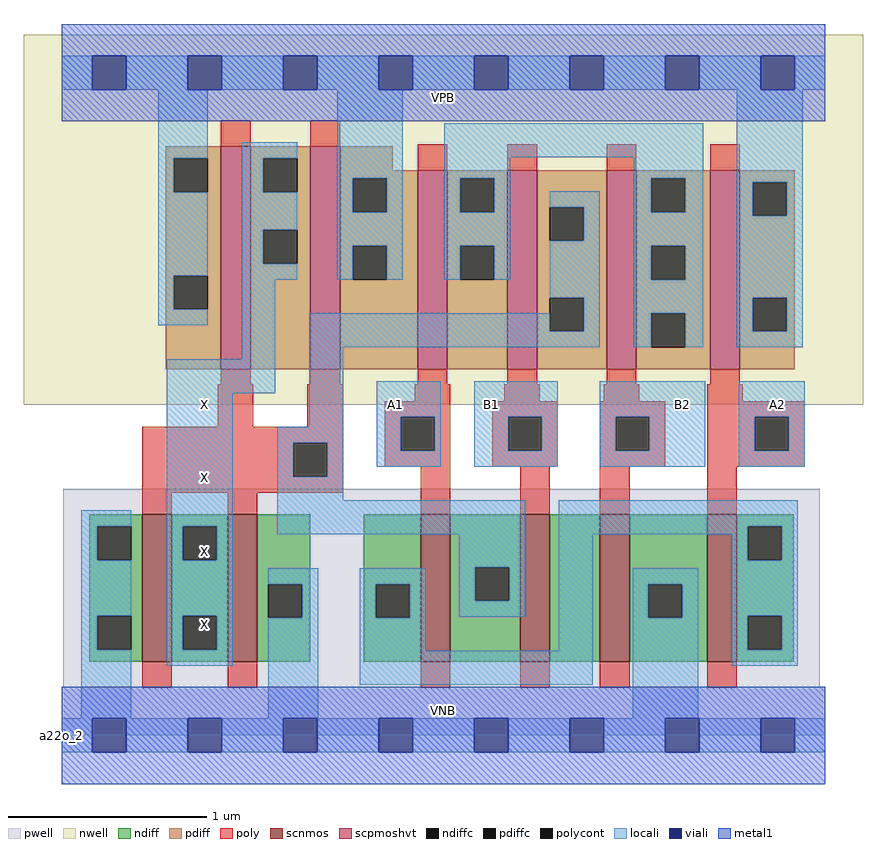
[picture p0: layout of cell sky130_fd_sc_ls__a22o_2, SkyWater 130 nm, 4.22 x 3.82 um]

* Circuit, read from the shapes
.subckt sky130_fd_sc_ls__a22o_2 A1 A2 B1 B2 VGND VNB VPB VPWR X
XM1 X n1 VGND VNB sky130_fd_pr__nfet_01v8 w=0.74 l=0.15 m=2
XM2 n1 A1 n2 VNB sky130_fd_pr__nfet_01v8 w=0.74 l=0.15
XM3 n3 B1 n1 VNB sky130_fd_pr__nfet_01v8 w=0.74 l=0.15
XM4 VGND B2 n3 VNB sky130_fd_pr__nfet_01v8 w=0.74 l=0.15
XM5 n2 A2 VGND VNB sky130_fd_pr__nfet_01v8 w=0.74 l=0.15
XM6 X n1 VPWR VPB sky130_fd_pr__pfet_01v8_hvt w=1.12 l=0.15 m=2
XM7 n4 A1 VPWR VPB sky130_fd_pr__pfet_01v8_hvt w=1 l=0.15
XM8 n1 B1 n4 VPB sky130_fd_pr__pfet_01v8_hvt w=1 l=0.15
XM9 n4 B2 n1 VPB sky130_fd_pr__pfet_01v8_hvt w=1 l=0.15
XM10 VPWR A2 n4 VPB sky130_fd_pr__pfet_01v8_hvt w=1 l=0.15
.ends

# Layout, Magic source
magic
tech sky130A
magscale 1 2
<< nwell >>
rect -38 332 806 704
<< pwell >>
rect 2 49 762 248
rect 0 0 768 49
<< scnmos >>
rect 81 74 111 222
rect 167 74 197 222
rect 361 74 391 222
rect 461 74 491 222
rect 541 74 571 222
rect 649 74 679 222
<< scpmoshvt >>
rect 160 368 190 592
rect 250 368 280 592
rect 358 368 388 568
rect 448 368 478 568
rect 548 368 578 568
rect 652 368 682 568
<< ndiff >>
rect 28 210 81 222
rect 28 176 36 210
rect 70 176 81 210
rect 28 120 81 176
rect 28 86 36 120
rect 70 86 81 120
rect 28 74 81 86
rect 111 210 167 222
rect 111 176 122 210
rect 156 176 167 210
rect 111 120 167 176
rect 111 86 122 120
rect 156 86 167 120
rect 111 74 167 86
rect 197 152 250 222
rect 197 118 208 152
rect 242 118 250 152
rect 197 74 250 118
rect 304 152 361 222
rect 304 118 316 152
rect 350 118 361 152
rect 304 74 361 118
rect 391 169 461 222
rect 391 135 416 169
rect 450 135 461 169
rect 391 74 461 135
rect 491 74 541 222
rect 571 152 649 222
rect 571 118 590 152
rect 624 118 649 152
rect 571 74 649 118
rect 679 210 736 222
rect 679 176 690 210
rect 724 176 736 210
rect 679 120 736 176
rect 679 86 690 120
rect 724 86 736 120
rect 679 74 736 86
<< pdiff >>
rect 105 580 160 592
rect 105 546 113 580
rect 147 546 160 580
rect 105 462 160 546
rect 105 428 113 462
rect 147 428 160 462
rect 105 368 160 428
rect 190 580 250 592
rect 190 546 203 580
rect 237 546 250 580
rect 190 508 250 546
rect 190 474 203 508
rect 237 474 250 508
rect 190 368 250 474
rect 280 568 333 592
rect 280 560 358 568
rect 280 526 293 560
rect 327 526 358 560
rect 280 492 358 526
rect 280 458 293 492
rect 327 458 358 492
rect 280 368 358 458
rect 388 560 448 568
rect 388 526 401 560
rect 435 526 448 560
rect 388 492 448 526
rect 388 458 401 492
rect 435 458 448 492
rect 388 368 448 458
rect 478 531 548 568
rect 478 497 491 531
rect 525 497 548 531
rect 478 440 548 497
rect 478 406 491 440
rect 525 406 548 440
rect 478 368 548 406
rect 578 560 652 568
rect 578 526 593 560
rect 627 526 652 560
rect 578 492 652 526
rect 578 458 593 492
rect 627 458 652 492
rect 578 424 652 458
rect 578 390 593 424
rect 627 390 652 424
rect 578 368 652 390
rect 682 556 737 568
rect 682 522 695 556
rect 729 522 737 556
rect 682 440 737 522
rect 682 406 695 440
rect 729 406 737 440
rect 682 368 737 406
<< ndiffc >>
rect 36 176 70 210
rect 36 86 70 120
rect 122 176 156 210
rect 122 86 156 120
rect 208 118 242 152
rect 316 118 350 152
rect 416 135 450 169
rect 590 118 624 152
rect 690 176 724 210
rect 690 86 724 120
<< pdiffc >>
rect 113 546 147 580
rect 113 428 147 462
rect 203 546 237 580
rect 203 474 237 508
rect 293 526 327 560
rect 293 458 327 492
rect 401 526 435 560
rect 401 458 435 492
rect 491 497 525 531
rect 491 406 525 440
rect 593 526 627 560
rect 593 458 627 492
rect 593 390 627 424
rect 695 522 729 556
rect 695 406 729 440
<< poly >>
rect 160 592 190 618
rect 250 592 280 618
rect 358 568 388 594
rect 448 568 478 594
rect 548 568 578 594
rect 652 568 682 594
rect 160 353 190 368
rect 250 353 280 368
rect 358 353 388 368
rect 448 353 478 368
rect 548 353 578 368
rect 652 353 682 368
rect 157 310 193 353
rect 247 310 283 353
rect 355 336 391 353
rect 445 336 481 353
rect 545 336 581 353
rect 649 336 685 353
rect 81 294 283 310
rect 81 260 233 294
rect 267 260 283 294
rect 325 320 391 336
rect 325 286 341 320
rect 375 286 391 320
rect 325 270 391 286
rect 433 320 499 336
rect 433 286 449 320
rect 483 286 499 320
rect 433 270 499 286
rect 541 320 607 336
rect 541 286 557 320
rect 591 286 607 320
rect 541 270 607 286
rect 649 320 747 336
rect 649 286 697 320
rect 731 286 747 320
rect 649 270 747 286
rect 81 244 283 260
rect 81 222 111 244
rect 167 222 197 244
rect 361 222 391 270
rect 461 222 491 270
rect 541 222 571 270
rect 649 222 679 270
rect 81 48 111 74
rect 167 48 197 74
rect 361 48 391 74
rect 461 48 491 74
rect 541 48 571 74
rect 649 48 679 74
<< polycont >>
rect 233 260 267 294
rect 341 286 375 320
rect 449 286 483 320
rect 557 286 591 320
rect 697 286 731 320
<< locali >>
rect 0 649 31 683
rect 65 649 127 683
rect 161 649 223 683
rect 257 649 319 683
rect 353 649 415 683
rect 449 649 511 683
rect 545 649 607 683
rect 641 649 703 683
rect 737 649 768 683
rect 97 580 147 649
rect 97 546 113 580
rect 97 462 147 546
rect 97 428 113 462
rect 97 412 147 428
rect 181 580 237 596
rect 181 546 203 580
rect 181 508 237 546
rect 181 474 203 508
rect 181 458 237 474
rect 277 560 343 649
rect 277 526 293 560
rect 327 526 343 560
rect 277 492 343 526
rect 277 458 293 492
rect 327 458 343 492
rect 385 581 645 615
rect 385 560 451 581
rect 385 526 401 560
rect 435 526 451 560
rect 575 560 645 581
rect 385 492 451 526
rect 385 458 401 492
rect 435 458 451 492
rect 491 531 541 547
rect 525 497 541 531
rect 181 378 215 458
rect 491 440 541 497
rect 106 344 215 378
rect 249 406 491 424
rect 525 406 541 440
rect 249 390 541 406
rect 575 526 593 560
rect 627 526 645 560
rect 575 492 645 526
rect 575 458 593 492
rect 627 458 645 492
rect 575 424 645 458
rect 575 390 593 424
rect 627 390 645 424
rect 679 556 745 649
rect 679 522 695 556
rect 729 522 745 556
rect 679 440 745 522
rect 679 406 695 440
rect 729 406 745 440
rect 679 390 745 406
rect 20 210 70 226
rect 20 176 36 210
rect 20 120 70 176
rect 20 86 36 120
rect 20 17 70 86
rect 106 210 172 344
rect 249 310 283 390
rect 106 176 122 210
rect 156 176 172 210
rect 217 294 283 310
rect 217 260 233 294
rect 267 260 283 294
rect 317 320 381 356
rect 317 286 341 320
rect 375 286 381 320
rect 317 270 381 286
rect 415 320 499 356
rect 415 286 449 320
rect 483 286 499 320
rect 415 270 499 286
rect 541 320 647 356
rect 541 286 557 320
rect 591 286 647 320
rect 541 270 647 286
rect 681 320 747 356
rect 681 286 697 320
rect 731 286 747 320
rect 681 270 747 286
rect 217 236 283 260
rect 217 202 466 236
rect 106 120 172 176
rect 400 169 466 202
rect 106 86 122 120
rect 156 86 172 120
rect 106 70 172 86
rect 208 152 258 168
rect 242 118 258 152
rect 208 17 258 118
rect 300 152 366 168
rect 300 118 316 152
rect 350 118 366 152
rect 400 135 416 169
rect 450 135 466 169
rect 400 119 466 135
rect 500 210 740 236
rect 500 202 690 210
rect 300 85 366 118
rect 500 85 534 202
rect 674 176 690 202
rect 724 176 740 210
rect 300 51 534 85
rect 574 152 640 168
rect 574 118 590 152
rect 624 118 640 152
rect 574 17 640 118
rect 674 120 740 176
rect 674 86 690 120
rect 724 86 740 120
rect 674 70 740 86
rect 0 -17 31 17
rect 65 -17 127 17
rect 161 -17 223 17
rect 257 -17 319 17
rect 353 -17 415 17
rect 449 -17 511 17
rect 545 -17 607 17
rect 641 -17 703 17
rect 737 -17 768 17
<< viali >>
rect 31 649 65 683
rect 127 649 161 683
rect 223 649 257 683
rect 319 649 353 683
rect 415 649 449 683
rect 511 649 545 683
rect 607 649 641 683
rect 703 649 737 683
rect 31 -17 65 17
rect 127 -17 161 17
rect 223 -17 257 17
rect 319 -17 353 17
rect 415 -17 449 17
rect 511 -17 545 17
rect 607 -17 641 17
rect 703 -17 737 17
<< metal1 >>
rect 0 683 768 715
rect 0 649 31 683
rect 65 649 127 683
rect 161 649 223 683
rect 257 649 319 683
rect 353 649 415 683
rect 449 649 511 683
rect 545 649 607 683
rect 641 649 703 683
rect 737 649 768 683
rect 0 617 768 649
rect 0 17 768 49
rect 0 -17 31 17
rect 65 -17 127 17
rect 161 -17 223 17
rect 257 -17 319 17
rect 353 -17 415 17
rect 449 -17 511 17
rect 545 -17 607 17
rect 641 -17 703 17
rect 737 -17 768 17
rect 0 -49 768 -17
<< labels >>
rlabel comment s 0 0 0 0 4 a22o_2
flabel pwell s 0 0 768 49 0 FreeSans 200 0 0 0 VNB
port 6 nsew ground bidirectional
flabel nwell s 0 617 768 666 0 FreeSans 200 0 0 0 VPB
port 7 nsew power bidirectional
flabel metal1 s 0 617 768 666 0 FreeSans 340 0 0 0 VPWR
port 8 nsew power bidirectional abutment
flabel metal1 s 0 0 768 49 0 FreeSans 340 0 0 0 VGND
port 5 nsew ground bidirectional abutment
flabel locali s 127 94 161 128 0 FreeSans 340 0 0 0 X
port 9 nsew signal output
flabel locali s 127 168 161 202 0 FreeSans 340 0 0 0 X
port 9 nsew signal output
flabel locali s 127 242 161 276 0 FreeSans 340 0 0 0 X
port 9 nsew signal output
flabel locali s 127 316 161 350 0 FreeSans 340 0 0 0 X
port 9 nsew signal output
flabel locali s 607 316 641 350 0 FreeSans 340 0 0 0 B2
port 4 nsew signal input
flabel locali s 415 316 449 350 0 FreeSans 340 0 0 0 B1
port 3 nsew signal input
flabel locali s 703 316 737 350 0 FreeSans 340 0 0 0 A2
port 2 nsew signal input
flabel locali s 319 316 353 350 0 FreeSans 340 0 0 0 A1
port 1 nsew signal input
<< properties >>
string LEFsite unit
string LEFclass CORE
string FIXED_BBOX 0 0 768 666
string GDS_FILE $PDKPATH/libs.ref/sky130_fd_sc_ls/gds/sky130_fd_sc_ls.gds
string LEFsymmetry X Y
string GDS_END 1386258
string GDS_START 1379030
<< end >>
